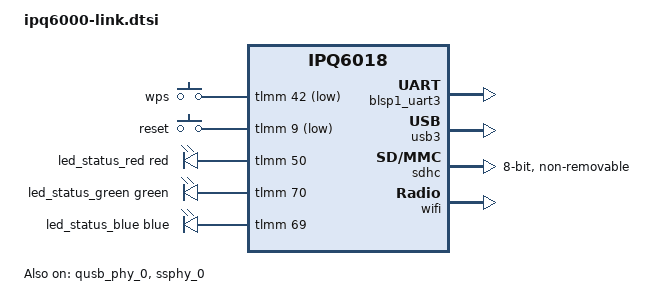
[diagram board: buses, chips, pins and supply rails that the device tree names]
// SPDX-License-Identifier: GPL-2.0-or-later OR MIT
//
// Link NN6000 v1/v2 shared DTS.
// Ported from OpenWrt master commit 0c068c6c ("qualcommax: ipq60xx: add Link
// NN6000v1/v2 support"), which predates the PPE/DSA conversion and thus uses
// the same QSDK NSS dataplane bindings (dpN + switch_*_bmp) as the 6.12
// kernel in iStoreOS 25.12.

#include "ipq6018-512m.dtsi"
#include "ipq6018-ess.dtsi"
#include "ipq6018-nss.dtsi"

#include <dt-bindings/gpio/gpio.h>
#include <dt-bindings/input/input.h>
#include <dt-bindings/leds/common.h>

/ {
	reserved-memory {
		#address-cells = <2>;
		#size-cells = <2>;
		ranges;

		/* Panic log survives warm reboot; read via /sys/fs/pstore.
		 * Same address/size as immortalwrt ipq6018 ramoops_region.
		 * Lies past q6_region end (0x4ab00000+0x3700000=0x4e200000). */
		ramoops_region: ramoops@4ed00000 {
			compatible = "ramoops";
			reg = <0x0 0x4ed00000 0x0 0x100000>;
			no-map;

			record-size = <0x4000>;
			console-size = <0x4000>;
		};
	};

	aliases {
		serial0 = &blsp1_uart3;
		led-boot = &led_status_red;
		led-failsafe = &led_status_red;
		led-running = &led_status_green;
		led-upgrade = &led_status_red;
	};

	chosen {
		/* QSDK 6.12 UART is ttyMSM0; identical to the proven ipq6000
		 * eMMC bootargs on the same kernel (jdcloud,re-ss-01). */
		bootargs = "console=ttyMSM0,115200,n8";
		bootargs-append = " rootfstype=squashfs,ext4 swiotlb=1 coherent_pool=2M swiotlb=1";
	};

	keys {
		compatible = "gpio-keys";

		wps {
			label = "wps";
			linux,code = <KEY_WPS_BUTTON>;
			gpios = <&tlmm 42 GPIO_ACTIVE_LOW>;
		};

		reset {
			label = "reset";
			linux,code = <KEY_RESTART>;
			gpios = <&tlmm 9 GPIO_ACTIVE_LOW>;
		};
	};

	leds {
		/* Single RGB led controlled via GPIO.
		To mimic the OEM default behaviour red are switched on from boot */
		compatible = "gpio-leds";

		led_status_red: status-red {
			gpios = <&tlmm 50 GPIO_ACTIVE_HIGH>;
			color = <LED_COLOR_ID_RED>;
			function = LED_FUNCTION_STATUS;
			default-state = "on";
		};

		led_status_green: status-green {
			gpios = <&tlmm 70 GPIO_ACTIVE_HIGH>;
			color = <LED_COLOR_ID_GREEN>;
			function = LED_FUNCTION_STATUS;
		};

		led_status_blue: status-blue {
			gpios = <&tlmm 69 GPIO_ACTIVE_HIGH>;
			color = <LED_COLOR_ID_BLUE>;
			function = LED_FUNCTION_STATUS;
		};
	};
};

&tlmm {
	gpio-reserved-ranges = <20 1>;

	mdio_pins: mdio-pins {
		mdc {
			pins = "gpio64";
			function = "mdc";
			drive-strength = <8>;
			bias-pull-up;
		};

		mdio {
			pins = "gpio65";
			function = "mdio";
			drive-strength = <8>;
			bias-pull-up;
		};
	};
};

&blsp1_uart3 {
	status = "okay";
	pinctrl-0 = <&serial_3_pins>;
	pinctrl-names = "default";
};

&qusb_phy_0 {
	status = "okay";
};

&ssphy_0 {
	status = "okay";
};

&usb3 {
	status = "okay";
};

&rpm {
	status = "disabled";
};

&sdhc {
	bus-width = <8>;
	mmc-ddr-1_8v;
	mmc-hs200-1_8v;
	non-removable;
	status = "okay";
};

&wifi {
	status = "okay";
	qcom,ath11k-fw-memory-mode = <1>;
	qcom,ath11k-calibration-variant = "Link-NN6000";
};

&edma {
	status = "okay";
};
